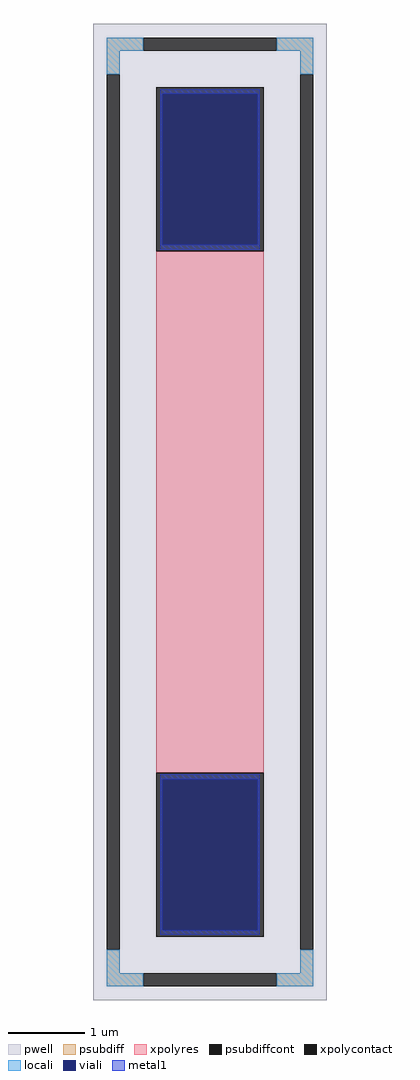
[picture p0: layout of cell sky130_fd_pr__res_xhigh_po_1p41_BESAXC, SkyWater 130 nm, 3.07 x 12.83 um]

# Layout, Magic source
magic
tech sky130A
magscale 1 2
<< pwell >>
rect -307 -1283 307 1283
<< psubdiff >>
rect -271 1213 -175 1247
rect 175 1213 271 1247
rect -271 1151 -237 1213
rect 237 1151 271 1213
rect -271 -1213 -237 -1151
rect 237 -1213 271 -1151
rect -271 -1247 -175 -1213
rect 175 -1247 271 -1213
<< psubdiffcont >>
rect -175 1213 175 1247
rect -271 -1151 -237 1151
rect 237 -1151 271 1151
rect -175 -1247 175 -1213
<< xpolycontact >>
rect -141 685 141 1117
rect -141 -1117 141 -685
<< xpolyres >>
rect -141 -685 141 685
<< locali >>
rect -271 1213 -175 1247
rect 175 1213 271 1247
rect -271 1151 -237 1213
rect 237 1151 271 1213
rect -271 -1213 -237 -1151
rect 237 -1213 271 -1151
rect -271 -1247 -175 -1213
rect 175 -1247 271 -1213
<< viali >>
rect -125 702 125 1099
rect -125 -1099 125 -702
<< metal1 >>
rect -131 1099 131 1111
rect -131 702 -125 1099
rect 125 702 131 1099
rect -131 690 131 702
rect -131 -702 131 -690
rect -131 -1099 -125 -702
rect 125 -1099 131 -702
rect -131 -1111 131 -1099
<< properties >>
string FIXED_BBOX -254 -1230 254 1230
string gencell sky130_fd_pr__res_xhigh_po_1p41
string library sky130
string parameters w 1.410 l 7.012 m 1 nx 1 wmin 1.410 lmin 0.50 rho 2000 val 10.213k dummy 0 dw 0.0 term 188.2 sterm 0.0 caplen 0 wmax 1.410 guard 1 glc 1 grc 1 gtc 1 gbc 1 compatible {sky130_fd_pr__res_xhigh_po_0p35  sky130_fd_pr__res_xhigh_po_0p69 sky130_fd_pr__res_xhigh_po_1p41  sky130_fd_pr__res_xhigh_po_2p85 sky130_fd_pr__res_xhigh_po_5p73} snake 0 full_metal 1 n_guard 0 hv_guard 0 vias 1 viagb 0 viagt 0 viagl 0 viagr 0
<< end >>
